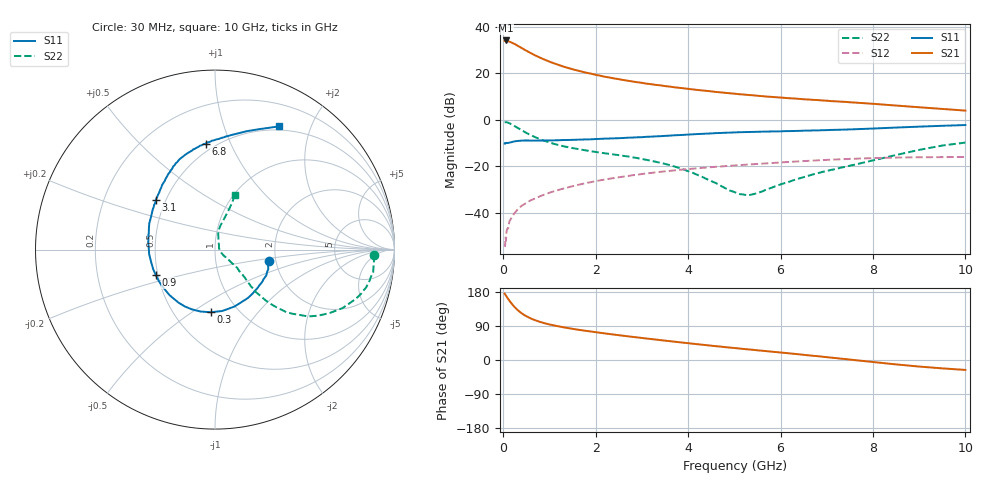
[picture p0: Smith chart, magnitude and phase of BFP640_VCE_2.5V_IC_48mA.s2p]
! (c) 2013  Infineon Technologies AG, Munich
! Infineon Technologies  Discrete & RF Semiconductors
! BFP640
! VCE =  2.5 V,  IC =  48 mA
! Common Emitter S-Parameters:  Apr 2013
# GHz  S  MA  R  50
!  f  S11  S21  S12  S22
! GHz  MAG  ANG  MAG  ANG  MAG  ANG  MAG  ANG
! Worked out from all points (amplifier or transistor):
!   99 points, 30 MHz to 10 GHz, reference 50 ohm
!   highest |S21| = 34.2 dB at 50 MHz (marker M1)
!   |S21| within 3 dB of that: start of sweep to 376.4 MHz
!   unconditionally stable (mu >= 1): start of sweep to 41.13 MHz; 1.314 GHz to end of sweep
!   at 350 MHz: K = 0.58, MSG = 34.6 dB, |S12| = -37.8 dB
!   at 3.5 GHz: K = 1.10, MAG = 16.4 dB, |S12| = -22.2 dB
!   at 10 GHz: K = 1.09, MAG = 8.2 dB, |S12| = -16.0 dB
!   S11 on the Smith chart (normalised r, x): 30 MHz: 1.84, -0.25; 300 MHz: 0.75, -0.60; 900 MHz: 0.49, -0.16; 3.1 GHz: 0.44, +0.30; 6.8 GHz: 0.45, +0.81; 10 GHz: 0.45, +1.55
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0.03  0.3082 -11.7  50.33 175.1  0.0021 68.4  0.8858 -2.0
0.05  0.3162 -20.1  51.32 171.8  0.0029 49.6  0.8883 -5.6
0.09  0.3188 -34.8  50.34 164.1  0.0045 79.5  0.8789 -11.3
0.15  0.3262 -55.9  47.87 153.9  0.0069 73.1  0.8312 -19.3
0.2  0.3352 -71.0  45.24 146.1  0.0085 69.5  0.7822 -24.6
0.25  0.3445 -83.3  42.97 139.2  0.0099 71.9  0.7309 -28.9
0.3  0.3499 -94.1  40.18 133.1  0.0114 66.5  0.683 -32.6
0.35  0.3541 -103.0  37.56 127.9  0.0129 65.2  0.6385 -35.7
0.45  0.3587 -118.0  32.93 119.1  0.0151 65.0  0.5594 -39.7
0.6  0.3586 -134.8  27.25 109.4  0.0186 64.4  0.4658 -43.3
0.7  0.3574 -143.3  24.28 104.6  0.0204 63.8  0.4212 -44.7
0.9  0.3589 -156.8  19.74 96.9  0.0247 63.2  0.3513 -45.7
1.3  0.3677 -176.0  14.04 86.4  0.033 62.2  0.2707 -45.0
1.7  0.3756 170.8  10.95 78.5  0.0415 60.3  0.2271 -43.1
2.2  0.3942 158.2  8.485 70.1  0.0518 57.0  0.1904 -42.1
3.1  0.4314 139.7  6.026 56.7  0.0702 50.0  0.1376 -38.5
3.4  0.4445 134.4  5.536 52.5  0.0759 47.4  0.1185 -38.5
5.1  0.5413 111.3  3.571 30.4  0.1057 32.7  0.0253 -1.1
6.7  0.5909 96.2  2.698 11.2  0.1326 18.7  0.0667 73.5
6.8  0.5925 95.1  2.671 10.1  0.1341 17.7  0.0706 74.5
8.5  0.6823 75.1  2.032 -11.6  0.1539 0.7  0.1747 73.8
10  0.773 62.6  1.582 -26.2  0.1589 -10.9  0.3239 70.2
